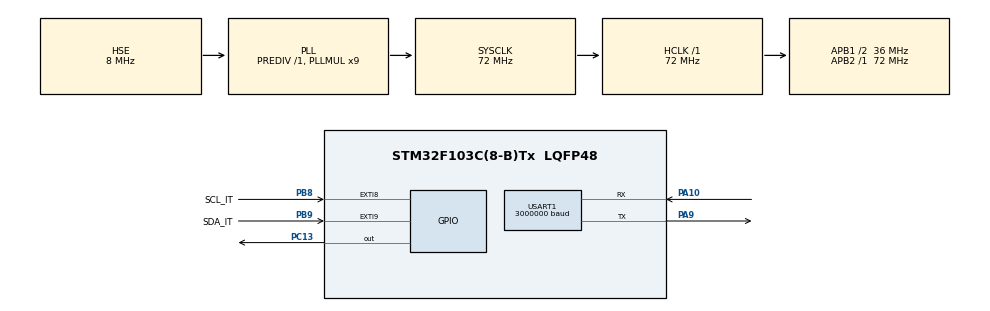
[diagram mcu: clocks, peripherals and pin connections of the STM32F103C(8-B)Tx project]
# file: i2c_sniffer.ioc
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Mcu.Family=STM32F1
Mcu.Name=STM32F103C(8-B)Tx
Mcu.Package=LQFP48
NVIC.EXTI9_5_IRQn=true\:0\:0\:false\:false\:true\:true\:true
NVIC.PriorityGroup=NVIC_PRIORITYGROUP_4
PA10.Mode=Asynchronous
PA10.Signal=USART1_RX
PA13.Mode=Serial_Wire
PA13.Signal=SYS_JTMS-SWDIO
PA14.Mode=Serial_Wire
PA14.Signal=SYS_JTCK-SWCLK
PA9.Mode=Asynchronous
PA9.Signal=USART1_TX
PB8.GPIO_Label=SCL_IT
PB8.Signal=GPXTI8
PB9.GPIO_Label=SDA_IT
PB9.GPIO_ModeDefaultEXTI=GPIO_MODE_IT_RISING_FALLING
PB9.Signal=GPXTI9
PC13-TAMPER-RTC.Signal=GPIO_Output
PD0-OSC_IN.Mode=HSE-External-Oscillator
PD0-OSC_IN.Signal=RCC_OSC_IN
PD1-OSC_OUT.Mode=HSE-External-Oscillator
PD1-OSC_OUT.Signal=RCC_OSC_OUT
ProjectManager.HeapSize=0x200
ProjectManager.StackSize=0x400
ProjectManager.TargetToolchain=STM32CubeIDE
RCC.AHBFreq_Value=72000000
RCC.APB1CLKDivider=RCC_HCLK_DIV2
RCC.APB1Freq_Value=36000000
RCC.APB1TimFreq_Value=72000000
RCC.APB2Freq_Value=72000000
RCC.APB2TimFreq_Value=72000000
RCC.HCLKFreq_Value=72000000
RCC.PLLMUL=RCC_PLL_MUL9
RCC.PLLSourceVirtual=RCC_PLLSOURCE_HSE
RCC.SYSCLKFreq_VALUE=72000000
RCC.SYSCLKSource=RCC_SYSCLKSOURCE_PLLCLK
RCC.USBFreq_Value=72000000
USART1.BaudRate=3000000
USART1.Mode=MODE_TX_RX
USART1.Parity=PARITY_NONE
USART1.StopBits=STOPBITS_1
USART1.VirtualMode=VM_ASYNC
USART1.WordLength=WORDLENGTH_8B
board=i2c_sniffer

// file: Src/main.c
/**
  ******************************************************************************
  * @file           : main.c
  * @brief          : Main program body
  ******************************************************************************
  ** This notice applies to any and all portions of this file
  * that are not between comment pairs USER CODE BEGIN and
  * USER CODE END. Other portions of this file, whether
  * inserted by the user or by software development tools
  * are owned by their respective copyright owners.
  *
  * COPYRIGHT(c) 2021 STMicroelectronics
  *
  * Redistribution and use in source and binary forms, with or without modification,
  * are permitted provided that the following conditions are met:
  *   1. Redistributions of source code must retain the above copyright notice,
  *      this list of conditions and the following disclaimer.
  *   2. Redistributions in binary form must reproduce the above copyright notice,
  *      this list of conditions and the following disclaimer in the documentation
  *      and/or other materials provided with the distribution.
  *   3. Neither the name of STMicroelectronics nor the names of its contributors
  *      may be used to endorse or promote products derived from this software
  *      without specific prior written permission.
  *
  * THIS SOFTWARE IS PROVIDED BY THE COPYRIGHT HOLDERS AND CONTRIBUTORS "AS IS"
  * AND ANY EXPRESS OR IMPLIED WARRANTIES, INCLUDING, BUT NOT LIMITED TO, THE
  * IMPLIED WARRANTIES OF MERCHANTABILITY AND FITNESS FOR A PARTICULAR PURPOSE ARE
  * DISCLAIMED. IN NO EVENT SHALL THE COPYRIGHT HOLDER OR CONTRIBUTORS BE LIABLE
  * FOR ANY DIRECT, INDIRECT, INCIDENTAL, SPECIAL, EXEMPLARY, OR CONSEQUENTIAL
  * DAMAGES (INCLUDING, BUT NOT LIMITED TO, PROCUREMENT OF SUBSTITUTE GOODS OR
  * SERVICES; LOSS OF USE, DATA, OR PROFITS; OR BUSINESS INTERRUPTION) HOWEVER
  * CAUSED AND ON ANY THEORY OF LIABILITY, WHETHER IN CONTRACT, STRICT LIABILITY,
  * OR TORT (INCLUDING NEGLIGENCE OR OTHERWISE) ARISING IN ANY WAY OUT OF THE USE
  * OF THIS SOFTWARE, EVEN IF ADVISED OF THE POSSIBILITY OF SUCH DAMAGE.
  *
  ******************************************************************************
  */
#include "main.h"
#include "stm32f1xx_hal.h"

/* USER CODE BEGIN Includes */
#include <string.h>
#include "buffer.h"
/* USER CODE END Includes */

UART_HandleTypeDef huart1;

/* USER CODE BEGIN PV */
/* Private variables ---------------------------------------------------------*/
/* USER CODE END PV */

void SystemClock_Config(void);
static void MX_GPIO_Init(void);
static void MX_USART1_UART_Init(void);

/* USER CODE BEGIN PFP */
/* Private function prototypes -----------------------------------------------*/
#ifdef __GNUC__
/* With GCC, small printf (option LD Linker->Libraries->Small printf
   set to 'Yes') calls __io_putchar() */
#define PUTCHAR_PROTOTYPE int __io_putchar(int ch)
#else
#define PUTCHAR_PROTOTYPE int fputc(int ch, FILE *f)
#endif /* __GNUC__ */
/* USER CODE END PFP */

int main(void)
{

  /* MCU Configuration----------------------------------------------------------*/

  /* Reset of all peripherals, Initializes the Flash interface and the Systick. */
  HAL_Init();

  /* Configure the system clock */
  SystemClock_Config();

  /* Initialize all configured peripherals */
  MX_GPIO_Init();
  MX_USART1_UART_Init();
  /* USER CODE BEGIN 2 */

  char ch = 'a';
  HAL_UART_Transmit(&huart1, (uint8_t *)&ch, 1, 0xFFFF); // just transmit an 'a'

  printf("\r\n ** I2C Sniffer **\r\n");
  printf("Key: \r\n");
  printf("\e[32m Left [\e[39m: (re)START \r\n");
  printf("\e[31mRight ]\e[39m:     STOP \r\n");
  printf("\r\n");
  printf("\e[36mCyan\e[39m: Address (hex) \r\n");
  printf("\e[33m   R\e[39m:   Read from master \r\n");
  printf("\e[33m   W\e[39m:  Write   to slave \r\n");
  printf("\r\n");
  printf("\e[39mWhite\e[39m: Data (hex) \r\n");
  printf("\e[33m    A\e[39m:   ACK (acknowledged) \r\n");
  printf("\e[33m    N\e[39m:  NACK (not acknowledged -- note: this is not an error) \r\n");
  printf("\r\n Enjoy! \r\n\r\n");

  // Too many variables!
  int16_t dataLeft = 0; // The number of I2C bits left to process
  uint8_t pendingData = 0; // The current byte being processed
  uint8_t pendingACK = 0; // Whether we have received ACK for the current byte
  uint8_t pendingRW = 0; // Whether a register is being Read
  uint8_t pendingExists = 0; // Whether we need to print the data
  uint8_t waitingForRegister = 0; // Whether we have received a (Re)start condition and are expecting a register address
  uint8_t dump = 0; // Whether we are dumping data due to a TIMEOUT

  uint32_t oldTimer = HAL_GetTick();

  setbuf(stdout, NULL); // Disable flushing; This might make the code slower, but makes sure everything is sent without
  	  	  	  	  	  	// having to wait for a newline
  /* USER CODE END 2 */

  /* Infinite loop */
  /* USER CODE BEGIN WHILE */
  while (1)
  {
	  if ((bufferPos - bufferStart + I2C_BUFFER_SIZE) % I2C_BUFFER_SIZE >= 1) { // positive modulo - distance left to cover
		  if (buffer[bufferStart] == 'A') {
			  // Start condition!!!
			  printf("\e[32m[\e[39m");
			  bufferStart = (bufferStart + 1) % I2C_BUFFER_SIZE;

			  if (dataLeft > 0 && dataLeft < 8) {
				  printf("ERROR! Not enough dat %d.\r\n", dataLeft);
			  }

			  dataLeft = 9;
			  pendingData = 0;
			  waitingForRegister = 1;
		  } else if (buffer[bufferStart] == 'B') {
			  // Stop condition!!!
			  printf("\e[31m]\e[39m\r\n");
			  bufferStart = (bufferStart + 1) % I2C_BUFFER_SIZE;

			  if (dataLeft > 0 && dataLeft < 8) {
				  printf("ERROR! Not got enough dat.\r\n");
				  dataLeft = 0;
			  }
			  pendingData = 0;
		  } else {
			  if (dataLeft <= 0) {
				  printf("ERROR! Got data without start condition.\r\n");
			  }
			  if (dataLeft > 9) {
				  printf("ERROR! Too much data expected\r\n");
			  }

			  dataLeft--;

			  if (dataLeft == 0) {
				  // Read ACK byte
				  pendingACK = !buffer[bufferStart];
				  pendingExists = 1;
			  } else if (dataLeft == 1 && waitingForRegister) {
				  // Read RW byte
				  pendingRW = buffer[bufferStart];
			  } else {
				  // Read regular byte
				  pendingData = pendingData << 1 | buffer[bufferStart];
			  }

			  // Increase the circular buffer position
			  bufferStart = (bufferStart + 1) % I2C_BUFFER_SIZE;
		  }
	  }

	  if (pendingExists) {
		  // Print received data
		  if (waitingForRegister) {
			  printf("\e[36m%2x", pendingData);
		  } else {
			  printf("\e[39m%2x", pendingData);
		  }
		  printf("\e[33m");
		  if (waitingForRegister) {
			  putchar(pendingRW ? 'R' : 'W');
			  waitingForRegister = 0;
		  }
		  putchar(pendingACK ? 'A' : 'N');

		  // Reset all the values
		  pendingExists = 0;
		  pendingData = 0;
		  dataLeft = 9;

		  oldTimer = HAL_GetTick();

		  printf("\e[39m");

		  if (dump) {
			  printf("\r\n");
			  dump = 0;
		  }
	  }

	  if (HAL_GetTick() - oldTimer > 1500) {
		  printf("\r\nNo data found (TIMEOUT), dumping information...\r\n");
		  printf("Received data: 0x%X, %d bits\r\n", pendingData, 9 - dataLeft);

		  printf("SCL line: %s\e[39m\r\n", HAL_GPIO_ReadPin(SCL_GPIO_Port, SCL_Pin) ? "\e[32mHI" : "\e[31mLO");
		  printf("SDA line: %s\e[39m\r\n", HAL_GPIO_ReadPin(SDA_GPIO_Port, SDA_Pin) ? "\e[32mHI" : "\e[31mLO");

		  pendingExists = dump = 1;
	  }

  /* USER CODE END WHILE */

  }

}

void SystemClock_Config(void)
{

  RCC_OscInitTypeDef RCC_OscInitStruct;
  RCC_ClkInitTypeDef RCC_ClkInitStruct;

    /**Initializes the CPU, AHB and APB busses clocks
    */
  RCC_OscInitStruct.OscillatorType = RCC_OSCILLATORTYPE_HSE;
  RCC_OscInitStruct.HSEState = RCC_HSE_ON;
  RCC_OscInitStruct.HSEPredivValue = RCC_HSE_PREDIV_DIV1;
  RCC_OscInitStruct.HSIState = RCC_HSI_ON;
  RCC_OscInitStruct.PLL.PLLState = RCC_PLL_ON;
  RCC_OscInitStruct.PLL.PLLSource = RCC_PLLSOURCE_HSE;
  RCC_OscInitStruct.PLL.PLLMUL = RCC_PLL_MUL9;
  if (HAL_RCC_OscConfig(&RCC_OscInitStruct) != HAL_OK)
  {
    _Error_Handler(__FILE__, __LINE__);
  }

    /**Initializes the CPU, AHB and APB busses clocks
    */
  RCC_ClkInitStruct.ClockType = RCC_CLOCKTYPE_HCLK|RCC_CLOCKTYPE_SYSCLK
                              |RCC_CLOCKTYPE_PCLK1|RCC_CLOCKTYPE_PCLK2;
  RCC_ClkInitStruct.SYSCLKSource = RCC_SYSCLKSOURCE_PLLCLK;
  RCC_ClkInitStruct.AHBCLKDivider = RCC_SYSCLK_DIV1;
  RCC_ClkInitStruct.APB1CLKDivider = RCC_HCLK_DIV2;
  RCC_ClkInitStruct.APB2CLKDivider = RCC_HCLK_DIV1;

  if (HAL_RCC_ClockConfig(&RCC_ClkInitStruct, FLASH_LATENCY_2) != HAL_OK)
  {
    _Error_Handler(__FILE__, __LINE__);
  }

    /**Configure the Systick interrupt time
    */
  HAL_SYSTICK_Config(HAL_RCC_GetHCLKFreq()/1000);

    /**Configure the Systick
    */
  HAL_SYSTICK_CLKSourceConfig(SYSTICK_CLKSOURCE_HCLK);

  /* SysTick_IRQn interrupt configuration */
  HAL_NVIC_SetPriority(SysTick_IRQn, 0, 0);
}

/* USART1 init function */
static void MX_USART1_UART_Init(void)
{

  huart1.Instance = USART1;
  huart1.Init.BaudRate = 3000000;
  huart1.Init.WordLength = UART_WORDLENGTH_8B;
  huart1.Init.StopBits = UART_STOPBITS_1;
  huart1.Init.Parity = UART_PARITY_NONE;
  huart1.Init.Mode = UART_MODE_TX_RX;
  huart1.Init.HwFlowCtl = UART_HWCONTROL_NONE;
  huart1.Init.OverSampling = UART_OVERSAMPLING_16;
  if (HAL_UART_Init(&huart1) != HAL_OK)
  {
    _Error_Handler(__FILE__, __LINE__);
  }

}

/** Configure pins as
        * Analog
        * Input
        * Output
        * EVENT_OUT
        * EXTI
*/
static void MX_GPIO_Init(void)
{

  GPIO_InitTypeDef GPIO_InitStruct;

  /* GPIO Ports Clock Enable */
  __HAL_RCC_GPIOC_CLK_ENABLE();
  __HAL_RCC_GPIOD_CLK_ENABLE();
  __HAL_RCC_GPIOA_CLK_ENABLE();
  __HAL_RCC_GPIOB_CLK_ENABLE();

  /*Configure GPIO pin Output Level */
  HAL_GPIO_WritePin(GPIOC, GPIO_PIN_13, GPIO_PIN_RESET);

  /*Configure GPIO pin : PC13 */
  GPIO_InitStruct.Pin = GPIO_PIN_13;
  GPIO_InitStruct.Mode = GPIO_MODE_OUTPUT_PP;
  GPIO_InitStruct.Speed = GPIO_SPEED_FREQ_LOW;
  HAL_GPIO_Init(GPIOC, &GPIO_InitStruct);

  /*Configure GPIO pin : SCL_IT_Pin */
  GPIO_InitStruct.Pin = SCL_IT_Pin;
  GPIO_InitStruct.Mode = GPIO_MODE_IT_RISING;
  GPIO_InitStruct.Pull = GPIO_NOPULL;
  HAL_GPIO_Init(SCL_IT_GPIO_Port, &GPIO_InitStruct);

  /*Configure GPIO pin : SDA_IT_Pin */
  GPIO_InitStruct.Pin = SDA_IT_Pin;
  GPIO_InitStruct.Mode = GPIO_MODE_IT_RISING_FALLING;
  GPIO_InitStruct.Pull = GPIO_NOPULL;
  HAL_GPIO_Init(SDA_IT_GPIO_Port, &GPIO_InitStruct);

  /* EXTI interrupt init*/
  HAL_NVIC_SetPriority(EXTI9_5_IRQn, 0, 0);
  HAL_NVIC_EnableIRQ(EXTI9_5_IRQn);

}

/* USER CODE BEGIN 4 */
PUTCHAR_PROTOTYPE
{
  /* Place your implementation of fputc here */
  /* e.g. write a character to the USART1 and Loop until the end of transmission */
  HAL_UART_Transmit(&huart1, (uint8_t *)&ch, 1, 0xFFFF);

  return ch;
}

void HAL_GPIO_EXTI_Callback(uint16_t GPIO_Pin) {
	uint8_t datum;

	if (GPIO_Pin == SCL_IT_Pin) {
		// Clock triggered; bit received
		datum = HAL_GPIO_ReadPin(SDA_GPIO_Port, SDA_Pin);
	} else if (HAL_GPIO_ReadPin(SCL_GPIO_Port, SCL_Pin)) { // SDA pin necessarily
		// START or STOP condition
		// A for START, B for STOP
		datum = HAL_GPIO_ReadPin(SDA_IT_GPIO_Port, SDA_IT_Pin) ? 'B' : 'A';
	} else {
		// Nothing interesting here...
		return;
	}

	buffer[bufferPos] = datum; // Store the received bit in the buffer

	bufferPos = (bufferPos + 1) % I2C_BUFFER_SIZE;
	if (bufferPos == bufferStart) printf("ERROR! I2C buffer too small!\r\n"); // Buffer overflow!
}
/* USER CODE END 4 */

void _Error_Handler(char *file, int line)
{
  while(1)
  {
  }
}

/************************ (C) COPYRIGHT STMicroelectronics *****END OF FILE****/
